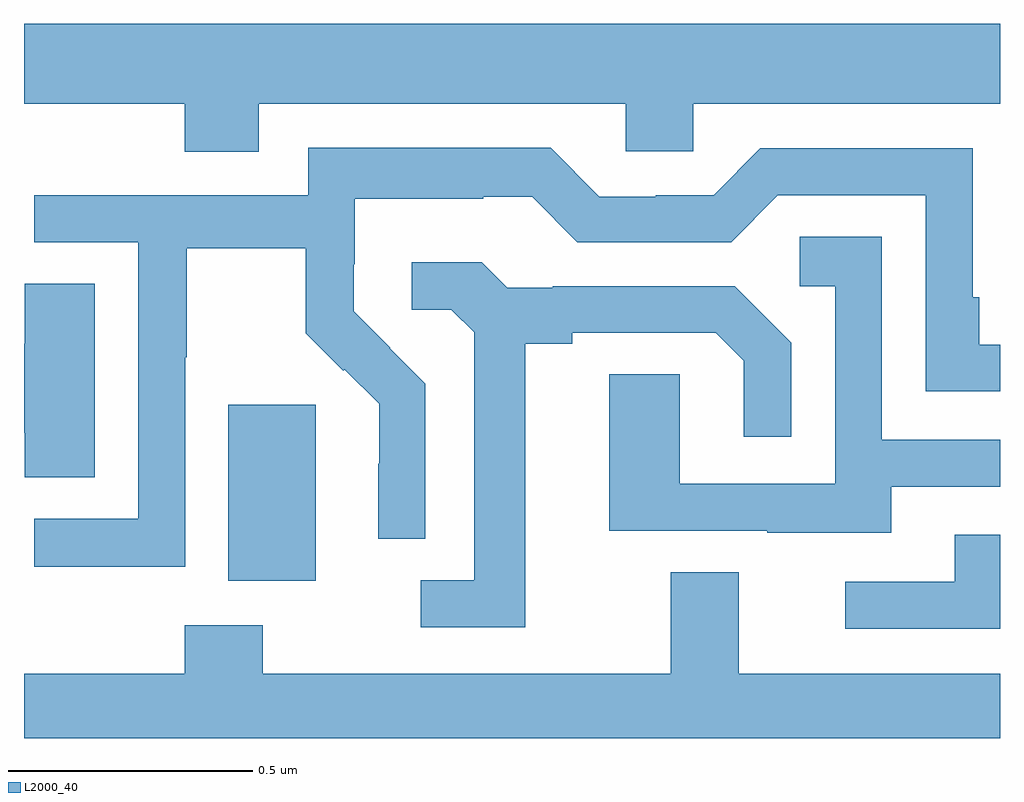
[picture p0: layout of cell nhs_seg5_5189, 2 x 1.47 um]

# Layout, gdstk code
import gdstk
lib = gdstk.Library(unit=1e-6, precision=1e-09)
def R(c, l, rs):  # rectangles x0, y0, x1, y1
    for r in rs: c.add(gdstk.rectangle(r[:2], r[2:], *l))
def P(c, l, *ps):  # polygons
    for p in ps: c.add(gdstk.Polygon(p, *l))
L2000_40 = (2000, 40)

nhs_seg5_5189 = lib.new_cell('nhs_seg5_5189')
R(nhs_seg5_5189, L2000_40, [(180.419,849.122,180.598,849.483)])
P(nhs_seg5_5189, L2000_40, [(180.481,850.1),(181.233,850.1),(181.233,850.002),(181.371,850.002),(181.371,850.1),(182,850.1),(182,850.264),(180,850.264),(180,850.1),(180.329,850.1),(180.329,850.001),(180.481,850.001)],
  [(180.33,849.58),(180.333,849.58),(180.333,849.804),(180.577,849.804),(180.577,849.629),(180.654,849.552),(180.657,849.555),(180.728,849.485),(180.728,849.362),(180.726,849.362),(180.726,849.208),(180.822,849.208),(180.822,849.526),(180.749,849.599),(180.75,849.6),(180.676,849.674),(180.676,849.771),(180.678,849.771),(180.678,849.905),(180.941,849.905),(180.941,849.909),(181.041,849.909),(181.134,849.816),(181.449,849.816),(181.545,849.912),(181.848,849.912),(181.848,849.51),(182,849.51),(182,849.606),(181.957,849.606),(181.957,849.703),(181.944,849.703),(181.944,850.008),(181.509,850.008),(181.413,849.912),(181.295,849.912),(181.295,849.909),(181.179,849.909),(181.079,850.009),(180.582,850.009),(180.582,849.912),(180.021,849.912),(180.021,849.816),(180.234,849.816),(180.234,849.249),(180.021,849.249),(180.021,849.151),(180.33,849.151)],
  [(181.777,849.315),(182,849.315),(182,849.411),(181.758,849.411),(181.758,849.827),(181.59,849.827),(181.59,849.726),(181.662,849.726),(181.662,849.321),(181.344,849.321),(181.344,849.545),(181.199,849.545),(181.199,849.225),(181.523,849.225),(181.523,849.221),(181.777,849.221)],
  [(181.027,849.608),(181.123,849.608),(181.123,849.63),(181.418,849.63),(181.475,849.573),(181.475,849.417),(181.572,849.417),(181.572,849.61),(181.456,849.726),(181.084,849.726),(181.084,849.723),(180.99,849.723),(180.938,849.775),(180.795,849.775),(180.795,849.678),(180.876,849.678),(180.923,849.631),(180.923,849.123),(180.813,849.123),(180.813,849.027),(181.027,849.027)],
  [(180.145,849.731),(180.002,849.731),(180.002,849.608),(180,849.608),(180,849.425),(180.002,849.425),(180.002,849.334),(180.145,849.334)],
  [(182,849.216),(181.907,849.216),(181.907,849.12),(181.683,849.12),(181.683,849.024),(182,849.024)],
  [(182,848.932),(181.465,848.932),(181.465,849.14),(181.325,849.14),(181.325,848.932),(180.489,848.932),(180.489,849.031),(180.329,849.031),(180.329,848.932),(180,848.932),(180,848.799),(182,848.799)])

lib.write_gds('nhs_seg5_5189.gds')
